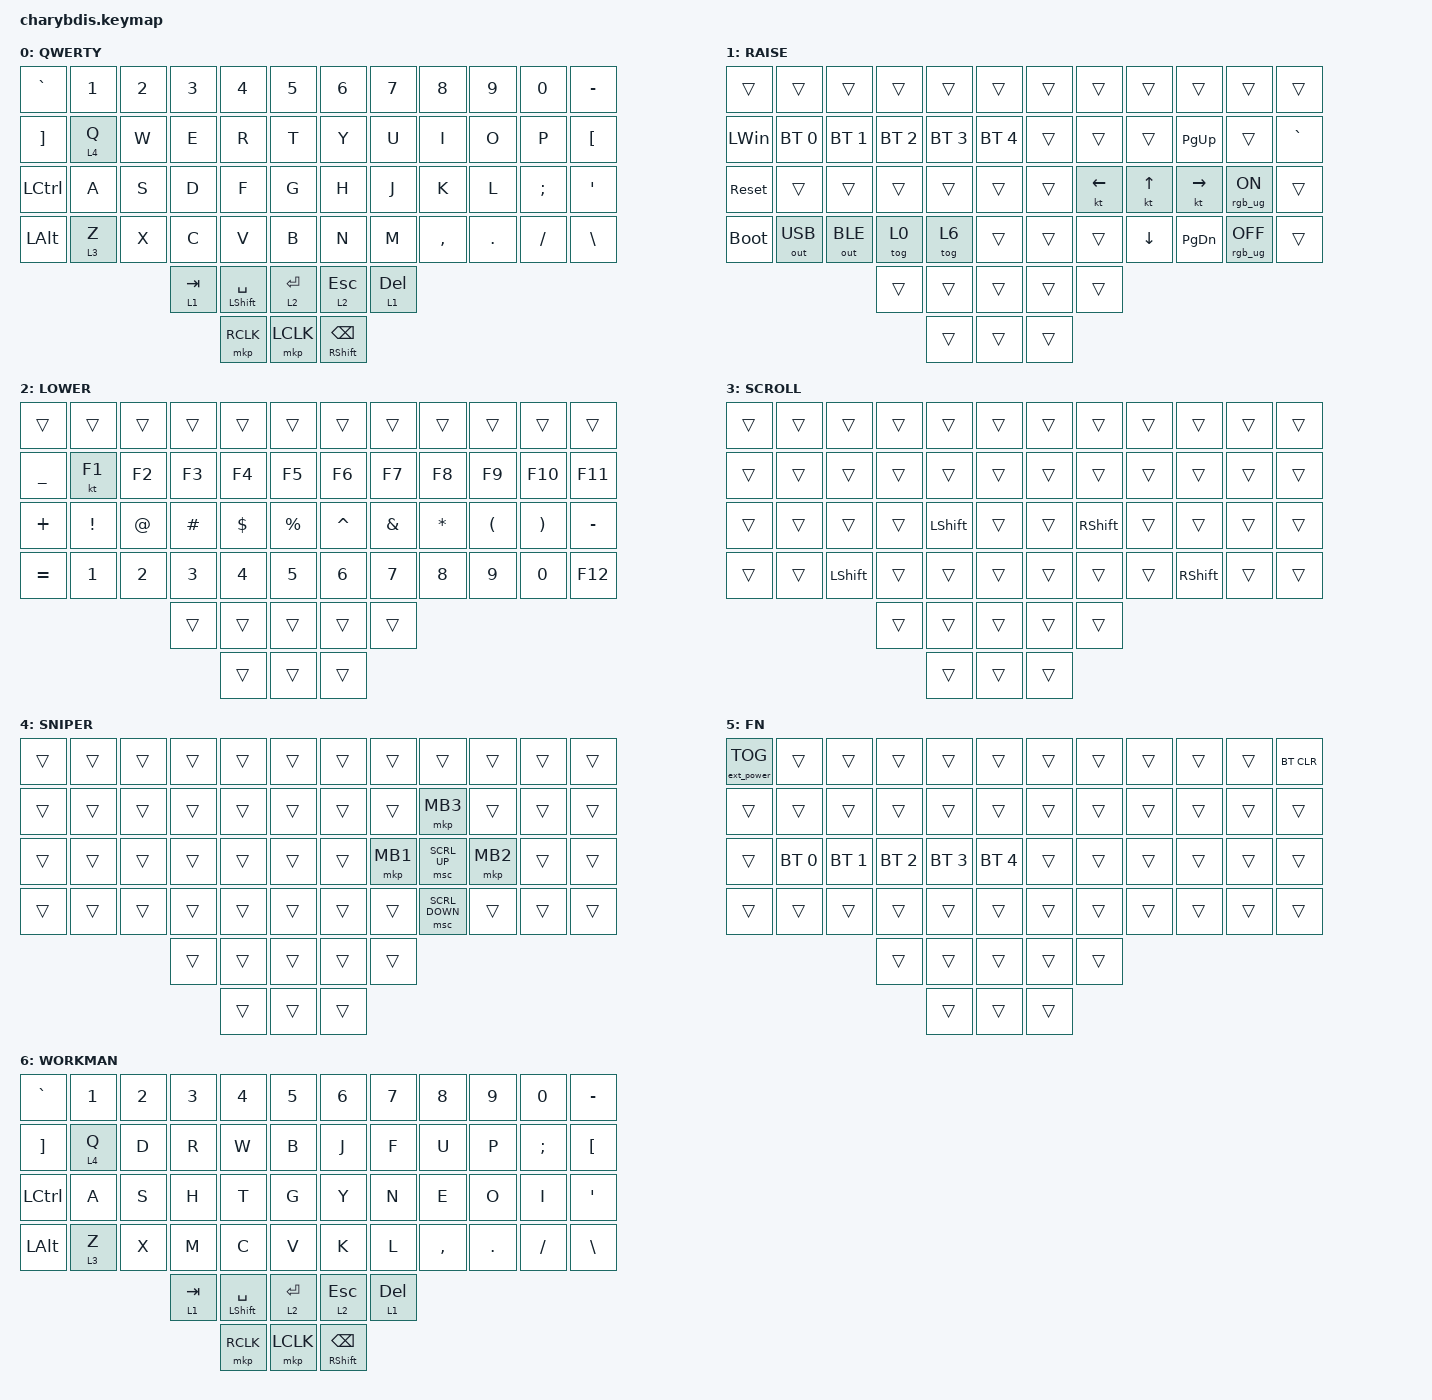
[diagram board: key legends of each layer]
#include "keys_de_swiss.h"
#include <dt-bindings/zmk/mouse.h>
#include <behaviors/mouse_keys.dtsi>
#include <behaviors.dtsi>
#include <dt-bindings/zmk/bt.h>
#include <dt-bindings/zmk/ext_power.h>
#include <dt-bindings/zmk/keys.h>
#include <dt-bindings/zmk/outputs.h>
#include <dt-bindings/zmk/pointing.h>
#include <dt-bindings/zmk/rgb.h>

// / {
//     chosen { zmk,matrix_transform = &default_transform; };
// };

/ {
    /* input config for mouse move mode */

    trackball_listener {
        compatible = "zmk,input-behavior-listener";
        device = <&vtrackball>;
        layers = <0 1 2 3 5 6>;
        evt-type = <INPUT_EV_REL>;
        x-input-code = <INPUT_REL_X>;
        y-input-code = <INPUT_REL_Y>;
        scale-multiplier = <1>;
        scale-divisor = <2>;

        bindings = <&ib_toggle_layer 4>;
    };

    /* input config for snipe mode */

    trackball_snipe_listener {
        compatible = "zmk,input-behavior-listener";
        device = <&vtrackball>;
        layers = <4>;
        evt-type = <INPUT_EV_REL>;
        x-input-code = <INPUT_REL_X>;
        y-input-code = <INPUT_REL_Y>;
        scale-multiplier = <1>;
        scale-divisor = <4>;
    };

    /* input config for mouse scroll mode */

    trackball_scroll_listener {
        compatible = "zmk,input-behavior-listener";
        device = <&vtrackball>;
        layers = <9>;
        evt-type = <INPUT_EV_REL>;
        x-input-code = <INPUT_REL_MISC>;
        y-input-code = <INPUT_REL_WHEEL>;
        y-invert;
        bindings = <&ib_wheel_scaler 1 14>;
    };

    /* define a resolution down scaler only for INPUT_REL_WHEEL */

    ib_wheel_scaler: ib_wheel_scaler {
        compatible = "zmk,input-behavior-scaler";
        #binding-cells = <2>;
        evt-type = <INPUT_EV_REL>;
        input-code = <INPUT_REL_WHEEL>;
    };

    /* adjust cooldown waiting period for mouse key layer after activated */

    ib_toggle_layer: ib_toggle_layer {
        compatible = "zmk,input-behavior-tog-layer";
        #binding-cells = <1>;
        time-to-live-ms = <750>;
    };

    // #define QWERTY    0
    // #define RAISE     1
    // #define LOWER     2
    // #define SCROLL    3
    // #define SNIPER    4
    // #define FN        5
    // #define WORKMAN   6

    combos { compatible = "zmk,combos"; };

    behaviors {
        hmr: hmr {
            compatible = "zmk,behavior-hold-tap";
            label = "HMR";
            bindings = <&kp>, <&kp>;

            #binding-cells = <2>;
            tapping-term-ms = <190>;
            quick-tap-ms = <175>;
            flavor = "balanced";
            hold-trigger-key-positions = <0 1 2 3 4 5 12 13 14 15 16 17 24 25 26 27 28 29 36 37 38 39 40 41 48 49 50 53 54 51 52 55>;
            hold-trigger-on-release;
        };

        hml: hml {
            compatible = "zmk,behavior-hold-tap";
            label = "HML";
            bindings = <&kp>, <&kp>;

            #binding-cells = <2>;
            tapping-term-ms = <190>;
            quick-tap-ms = <175>;
            flavor = "balanced";
            hold-trigger-key-positions = <48 49 50 53 54 51 52 55 6 7 8 9 10 11 18 19 20 21 22 23 30 31 32 33 34 35 42 43 44 45 46 47 51 52>;
            hold-trigger-on-release;
        };
    };

    keymap {
        compatible = "zmk,keymap";

        default_qwerty_layer {
            bindings = <
&kp GRAVE     &kp N1   &kp N2  &kp N3     &kp N4                &kp N5         &kp N6                     &kp N7     &kp N8     &kp N9      &kp N0     &kp MINUS
&kp RBKT      &lt 4 Q  &kp W   &kp E      &kp R                 &kp T          &kp Y                      &kp U      &kp I      &kp O       &kp P      &kp LBKT
&kp LCTRL     &kp A    &kp S   &kp D      &kp F                 &kp G          &kp H                      &kp J      &kp K      &kp L       &kp SEMI   &kp SINGLE_QUOTE
&kp LEFT_ALT  &lt 3 Z  &kp X   &kp C      &kp V                 &kp B          &kp N                      &kp M      &kp COMMA  &kp PERIOD  &kp SLASH  &kp BACKSLASH
                               &lt 1 TAB  &mt LEFT_SHIFT SPACE  &lt 2 ENTER    &lt 2 ESCAPE               &lt 1 DEL
                                          &mkp RCLK             &mkp LCLK      &mt RIGHT_SHIFT BACKSPACE
            >;

            label = "QWERTY";
        };

        win_raise_layer {
            bindings = <
&trans        &trans        &trans        &trans        &trans        &trans          &trans  &trans    &trans    &trans         &trans           &trans
&kp LEFT_WIN  &bt BT_SEL 0  &bt BT_SEL 1  &bt BT_SEL 2  &bt BT_SEL 3  &bt BT_SEL 4    &trans  &trans    &trans    &kp PAGE_UP    &trans           &kp GRAVE
&sys_reset    &trans        &trans        &trans        &trans        &trans          &trans  &kt LEFT  &kt UP    &kt RIGHT      &rgb_ug RGB_ON   &trans
&bootloader   &out OUT_USB  &out OUT_BLE  &tog 0        &tog 6        &trans          &trans  &trans    &kp DOWN  &kp PAGE_DOWN  &rgb_ug RGB_OFF  &trans
                                          &trans        &trans        &trans          &trans  &trans
                                                        &trans        &trans          &trans
            >;

            label = "RAISE";
        };

        win_lower_layer {
            bindings = <
&trans     &trans        &trans        &trans        &trans        &trans          &trans        &trans         &trans        &trans                &trans                 &trans
&kp UNDER  &kt F1        &kp F2        &kp F3        &kp F4        &kp F5          &kp F6        &kp F7         &kp F8        &kp F9                &kp F10                &kp F11
&kp PLUS   &kp EXCL      &kp AT        &kp HASH      &kp DOLLAR    &kp PERCENT     &kp CARET     &kp AMPERSAND  &kp ASTERISK  &kp LEFT_PARENTHESIS  &kp RIGHT_PARENTHESIS  &kp MINUS
&kp EQUAL  &kp NUMBER_1  &kp NUMBER_2  &kp NUMBER_3  &kp NUMBER_4  &kp NUMBER_5    &kp NUMBER_6  &kp NUMBER_7   &kp NUMBER_8  &kp NUMBER_9          &kp NUMBER_0           &kp F12
                                       &trans        &trans        &trans          &trans        &trans
                                                     &trans        &trans          &trans
            >;

            label = "LOWER";
        };

        scroll_layer {
            bindings = <
&trans  &trans  &trans          &trans  &trans          &trans    &trans  &trans           &trans  &trans           &trans  &trans
&trans  &trans  &trans          &trans  &trans          &trans    &trans  &trans           &trans  &trans           &trans  &trans
&trans  &trans  &trans          &trans  &kp LEFT_SHIFT  &trans    &trans  &kp RIGHT_SHIFT  &trans  &trans           &trans  &trans
&trans  &trans  &kp LEFT_SHIFT  &trans  &trans          &trans    &trans  &trans           &trans  &kp RIGHT_SHIFT  &trans  &trans
                                &trans  &trans          &trans    &trans  &trans
                                        &trans          &trans    &trans
            >;

            label = "SCROLL";
        };

        sniper_layer {
            bindings = <
&trans  &trans  &trans  &trans  &trans  &trans    &trans  &trans    &trans          &trans    &trans  &trans
&trans  &trans  &trans  &trans  &trans  &trans    &trans  &trans    &mkp MB3        &trans    &trans  &trans
&trans  &trans  &trans  &trans  &trans  &trans    &trans  &mkp MB1  &msc SCRL_UP    &mkp MB2  &trans  &trans
&trans  &trans  &trans  &trans  &trans  &trans    &trans  &trans    &msc SCRL_DOWN  &trans    &trans  &trans
                        &trans  &trans  &trans    &trans  &trans
                                &trans  &trans    &trans
            >;

            label = "SNIPER";
        };

        keeb_pref_layer {
            label = "FN";
            bindings = <
&ext_power EP_TOG  &trans        &trans        &trans        &trans        &trans          &trans  &trans  &trans  &trans  &trans  &bt BT_CLR
&trans             &trans        &trans        &trans        &trans        &trans          &trans  &trans  &trans  &trans  &trans  &trans
&trans             &bt BT_SEL 0  &bt BT_SEL 1  &bt BT_SEL 2  &bt BT_SEL 3  &bt BT_SEL 4    &trans  &trans  &trans  &trans  &trans  &trans
&trans             &trans        &trans        &trans        &trans        &trans          &trans  &trans  &trans  &trans  &trans  &trans
                                               &trans        &trans        &trans          &trans  &trans
                                                             &trans        &trans          &trans
            >;
        };

        default_workman_layer {
            label = "WORKMAN";
            bindings = <
&kp GRAVE     &kp N1   &kp N2  &kp N3     &kp N4                &kp N5         &kp N6                     &kp N7     &kp N8     &kp N9      &kp N0     &kp MINUS
&kp RBKT      &lt 4 Q  &kp D   &kp R      &kp W                 &kp B          &kp J                      &kp F      &kp U      &kp P       &kp SEMI   &kp LBKT
&kp LCTRL     &kp A    &kp S   &kp H      &kp T                 &kp G          &kp Y                      &kp N      &kp E      &kp O       &kp I      &kp SINGLE_QUOTE
&kp LEFT_ALT  &lt 3 Z  &kp X   &kp M      &kp C                 &kp V          &kp K                      &kp L      &kp COMMA  &kp PERIOD  &kp SLASH  &kp BACKSLASH
                               &lt 1 TAB  &mt LEFT_SHIFT SPACE  &lt 2 ENTER    &lt 2 ESCAPE               &lt 1 DEL
                                          &mkp RCLK             &mkp LCLK      &mt RIGHT_SHIFT BACKSPACE
            >;
        };
    };
};
